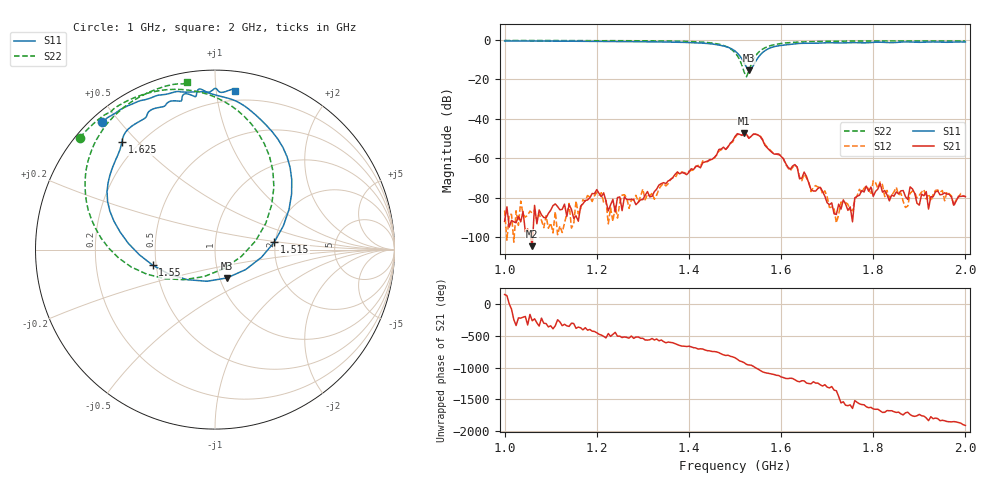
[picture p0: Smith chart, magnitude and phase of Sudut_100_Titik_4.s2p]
# Hz S RI R 50
! CMT, C1220, 16058040, 17.2.0/1
! Date: 14/08/2018 12:30:01
! Data: Format (Calibration Info)
! Freq  S11: Re/Im (F2)  S21: Re/Im (F2)  S12: Re/Im (F2)  S22: Re/Im (F2)
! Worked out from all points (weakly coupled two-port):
!   201 points, 1 GHz to 2 GHz, reference 50 ohm
!   highest |S21| = -47.23 dB at 1.52 GHz (marker M1); lowest = -104.7 dB at 1.06 GHz (marker M2)
!   lowest |S11| = -15.3 dB at 1.53 GHz (marker M3), VSWR 1.41, Z = 54.2 - j17.6 ohm
!   |S11| at or under -10 dB: 1.516 GHz to 1.547 GHz (30.95 MHz wide, 2.02 % of centre)
!   |S22| runs from -18.6 to -0.2 dB; largest |S21 - S12| = 0.00025
!   S11 on the Smith chart (normalised r, x): 1 GHz: 0.03, +0.45; 1.515 GHz: 1.97, +0.18; 1.55 GHz: 0.48, -0.10; 1.625 GHz: 0.14, +0.45; 2 GHz: 0.13, +1.13
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1e9  -0.6277 0.7092  -2.1e-05 1.36e-05  -3.72e-05 2.9e-05  -0.753 0.6242
1.06e9  -0.5683 0.7525  -4.89e-07 5.83e-06  4.05e-05 -3.21e-06  -0.7121 0.6683
1.17e9  -0.4515 0.8154  4.7e-05 -5.1e-05  8.48e-05 -2.62e-05  -0.6169 0.7494
1.315e9  -0.213 0.8807  -9.6e-05 4.2e-05  -0.000105 3.02e-05  -0.4393 0.8503
1.335e9  -0.1863 0.8784  -0.000159 0.000136  -0.000144 8.24e-05  -0.4015 0.8636
1.45e9  0.2028 0.7705  0.000831 -0.000429  0.000824 -0.000452  0.0212 0.8402
1.5e9  0.427 0.3108  -0.00209 -0.00289  -0.00197 -0.00269  0.3282 0.3476
1.515e9  0.33 0.0411  -0.00377 0.000458  -0.00381 0.000369  0.2261 0.0481
1.52e9  0.2595 -0.0423  -0.00398 0.00174  -0.00405 0.00169  0.1468 -0.0381
1.53e9  0.0673 -0.1578  -0.00163 0.00277  -0.00167 0.00279  -0.0598 -0.1501
1.55e9  -0.3471 -0.0871  0.00222 0.00322  0.00206 0.00331  -0.4672 -0.0968
1.625e9  -0.5191 0.5985  -1.77e-05 -0.000633  1.43e-07 -0.000585  -0.6987 0.5215
1.67e9  -0.3953 0.7289  -0.000118 -8.86e-05  -0.000165 -7.37e-05  -0.6245 0.6706
1.76e9  -0.2338 0.8289  1.83e-05 -9.67e-05  9.79e-06 -8.9e-05  -0.4835 0.8104
1.795e9  -0.1836 0.8473  -0.000185 1.71e-05  -8.1e-05 8.95e-05  -0.4327 0.8428
1.8e9  -0.1812 0.8566  -9.34e-05 5.43e-05  -0.000259 7.35e-05  -0.426 0.8472
1.815e9  -0.1583 0.8685  -0.000115 0.000198  -4.24e-05 0.000247  -0.4052 0.8588
1.835e9  -0.113 0.8527  -4.32e-05 7.06e-05  -6.51e-05 7.36e-05  -0.3782 0.8721
1.85e9  -0.103 0.8646  -1.24e-05 0.000139  -4.15e-06 0.000182  -0.3579 0.8814
1.875e9  -0.0806 0.8945  -1.24e-05 8.88e-05  2.1e-05 5.77e-05  -0.3228 0.8951
1.88e9  -0.0711 0.8909  8.84e-05 0.000165  3.43e-05 0.000123  -0.3157 0.8975
2e9  0.1115 0.885  -3.56e-05 -9.98e-05  -2.63e-05 -0.000104  -0.1546 0.9315
